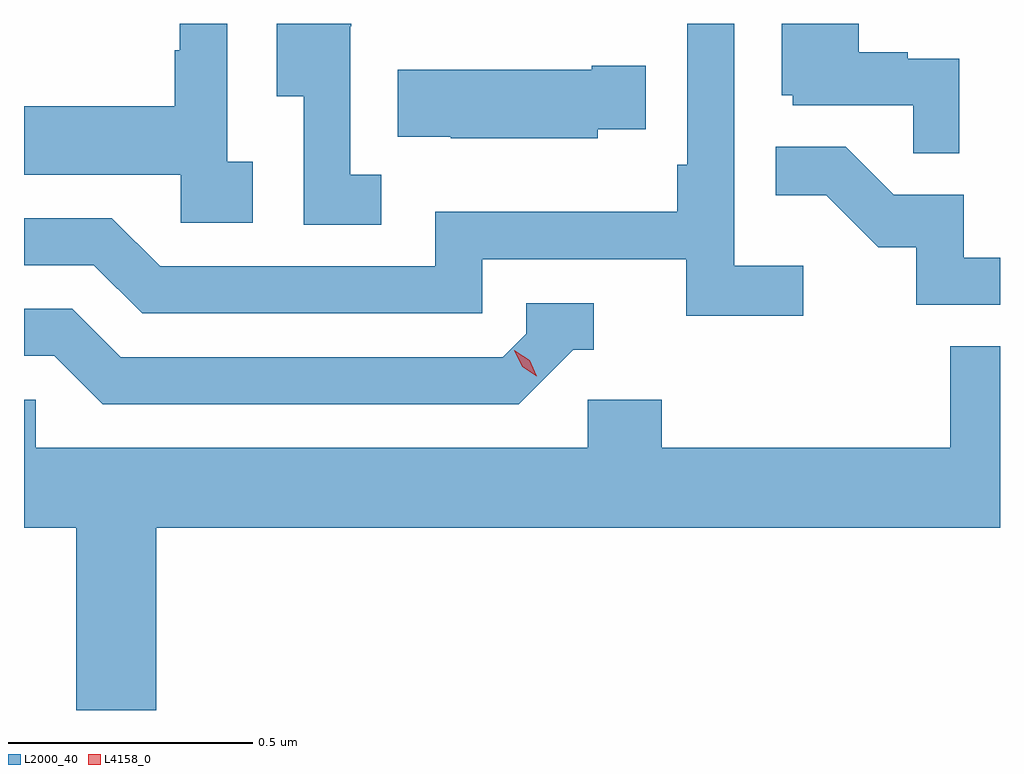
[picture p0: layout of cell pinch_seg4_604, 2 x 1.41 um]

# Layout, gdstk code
import gdstk
lib = gdstk.Library(unit=1e-6, precision=1e-09)
def P(c, l, *ps):  # polygons
    for p in ps: c.add(gdstk.Polygon(p, *l))
L2000_40 = (2000, 40)
L4158_0 = (4158, 0)

pinch_seg4_604 = lib.new_cell('pinch_seg4_604')
P(pinch_seg4_604, L2000_40, [(1041.622,784.036),(1041.48,784.036),(1041.48,784.532),(1041.384,784.532),(1041.384,784.243),(1041.364,784.243),(1041.364,784.147),(1040.868,784.147),(1040.868,784.035),(1040.304,784.035),(1040.205,784.134),(1040.025,784.134),(1040.025,784.038),(1040.168,784.038),(1040.267,783.939),(1040.964,783.939),(1040.964,784.05),(1041.382,784.05),(1041.382,783.934),(1041.622,783.934)],
  [(1040.757,784.223),(1040.694,784.223),(1040.694,784.527),(1040.696,784.527),(1040.696,784.532),(1040.543,784.532),(1040.543,784.384),(1040.598,784.384),(1040.598,784.12),(1040.757,784.12)],
  [(1040.494,784.25),(1040.442,784.25),(1040.442,784.532),(1040.344,784.532),(1040.344,784.478),(1040.334,784.478),(1040.334,784.363),(1040.025,784.363),(1040.025,784.223),(1040.346,784.223),(1040.346,784.125),(1040.494,784.125)],
  [(1041.942,784.461),(1041.836,784.461),(1041.836,784.474),(1041.736,784.474),(1041.736,784.532),(1041.578,784.532),(1041.578,784.386),(1041.6,784.386),(1041.6,784.365),(1041.847,784.365),(1041.847,784.267),(1041.942,784.267)],
  [(1041.201,784.316),(1041.299,784.316),(1041.299,784.446),(1041.188,784.446),(1041.188,784.438),(1040.791,784.438),(1040.791,784.301),(1040.899,784.301),(1040.899,784.298),(1041.201,784.298)],
  [(1042.025,784.053),(1041.951,784.053),(1041.951,784.182),(1041.807,784.182),(1041.709,784.28),(1041.565,784.28),(1041.565,784.181),(1041.669,784.181),(1041.776,784.074),(1041.853,784.074),(1041.853,783.957),(1042.025,783.957)],
  [(1041.15,783.864),(1041.193,783.864),(1041.193,783.96),(1041.054,783.96),(1041.054,783.897),(1041.006,783.849),(1040.223,783.849),(1040.124,783.948),(1040.025,783.948),(1040.025,783.852),(1040.087,783.852),(1040.186,783.753),(1041.039,783.753)],
  [(1040.296,783.5),(1042.025,783.5),(1042.025,783.872),(1041.923,783.872),(1041.923,783.664),(1041.332,783.664),(1041.332,783.762),(1041.18,783.762),(1041.18,783.664),(1040.049,783.664),(1040.049,783.762),(1040.025,783.762),(1040.025,783.5),(1040.132,783.5),(1040.132,783.126),(1040.296,783.126)])
P(pinch_seg4_604, L4158_0, [(1041.076,783.81),(1041.046,783.83),(1041.03,783.863),(1041.03,783.863),(1041.03,783.863),(1041.061,783.843),(1041.076,783.81),(1041.076,783.81)])

lib.write_gds('pinch_seg4_604.gds')
